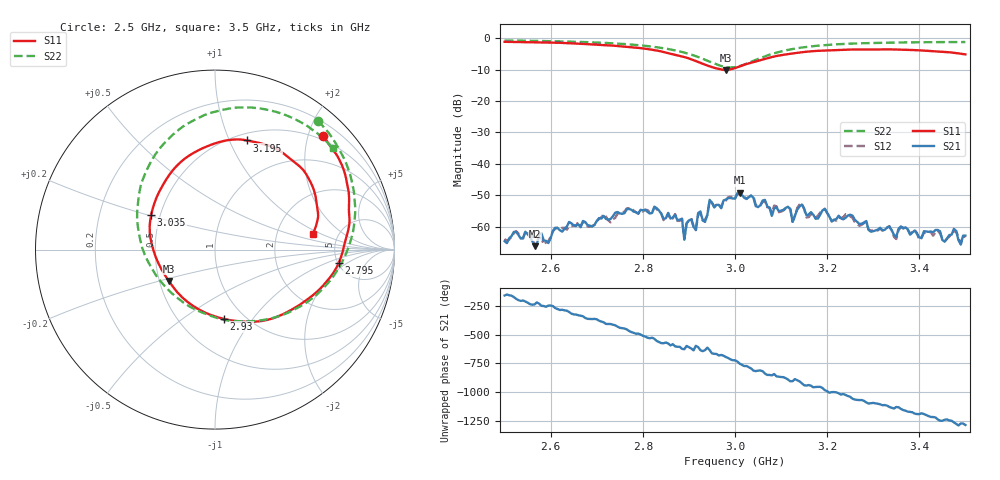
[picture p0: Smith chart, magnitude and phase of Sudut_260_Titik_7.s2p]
# Hz S RI R 50
! CMT, C1220, 16058040, 17.2.0/1
! Date: 15/08/2018 10:10:31
! Data: Format (Calibration Info)
! Freq  S11: Re/Im (F2)  S21: Re/Im (F2)  S12: Re/Im (F2)  S22: Re/Im (F2)
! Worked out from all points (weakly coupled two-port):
!   201 points, 2.5 GHz to 3.5 GHz, reference 50 ohm
!   highest |S21| = -49.21 dB at 3.01 GHz (marker M1); lowest = -66.2 dB at 2.565 GHz (marker M2)
!   lowest |S11| = -10.1 dB at 2.98 GHz (marker M3), VSWR 1.90, Z = 28 - j10.8 ohm
!   |S11| at or under -10 dB: 2.971 GHz to 2.988 GHz (17.12 MHz wide, 0.575 % of centre)
!   |S22| runs from -9.3 to -0.7 dB; largest |S21 - S12| = 0.0003
!   S11 on the Smith chart (normalised r, x): 2.5 GHz: 0.42, +2.25; 2.795 GHz: 5.06, -1.49; 2.93 GHz: 0.81, -0.74; 3.035 GHz: 0.45, +0.21; 3.195 GHz: 0.57, +1.16; 3.5 GHz: 3.24, +0.78
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2.5e9  0.5998 0.635  -0.000547 -0.000207  -0.000593 -0.000232  0.5734 0.7165
2.545e9  0.6465 0.5698  -0.000706 0.000432  -0.000737 0.000365  0.6246 0.6609
2.565e9  0.6683 0.5414  -0.000265 0.000409  -0.000171 0.000486  0.6459 0.6332
2.67e9  0.7455 0.3158  0.00115 0.00042  0.00113 0.000313  0.7449 0.443
2.795e9  0.6887 -0.0764  -0.0014 -0.00121  -0.00136 -0.00116  0.7636 0.0778
2.835e9  0.585 -0.219  -0.00164 0.000737  -0.00162 0.000656  0.7039 -0.0775
2.885e9  0.3479 -0.3735  -0.000132 0.00133  -8.01e-05 0.00132  0.533 -0.2782
2.89e9  0.3202 -0.3837  -2.82e-05 0.000619  -4.3e-05 0.000622  0.5082 -0.2956
2.9e9  0.2593 -0.398  -0.000424 0.00118  -0.000424 0.00119  0.4527 -0.3284
2.93e9  0.0507 -0.3865  0.000313 0.00121  0.000296 0.00121  0.2542 -0.3944
2.945e9  -0.0549 -0.3512  0.000216 0.00266  0.000121 0.00259  0.139 -0.3998
2.98e9  -0.2577 -0.1744  0.00244 0.00113  0.00232 0.00115  -0.1395 -0.3184
3e9  -0.3317 -0.038  0.00277 -0.000178  0.00274 -0.000332  -0.2748 -0.2096
3.01e9  -0.3522 0.0301  0.00292 -0.00187  0.00278 -0.00179  -0.3302 -0.1407
3.035e9  -0.3552 0.194  0.000811 -0.003  0.000875 -0.00301  -0.4159 0.0513
3.08e9  -0.2376 0.4391  -0.00104 -0.00104  -0.00115 -0.00118  -0.4029 0.389
3.17e9  0.0977 0.6126  -0.000785 0.00132  -0.000868 0.00127  -0.0774 0.7411
3.195e9  0.1778 0.6083  -0.000197 0.00191  -0.000122 0.00191  0.0163 0.7722
3.335e9  0.4935 0.4411  0.000635 -0.000768  0.000625 -0.000805  0.4087 0.7433
3.35e9  0.5115 0.4143  0.000435 -0.000528  0.0004 -0.000491  0.4382 0.7307
3.36e9  0.5222 0.3949  0.000389 -0.000928  0.000352 -0.000906  0.4573 0.7205
3.5e9  0.5441 0.0842  -0.000635 0.000334  -0.000587 0.000368  0.6571 0.564
